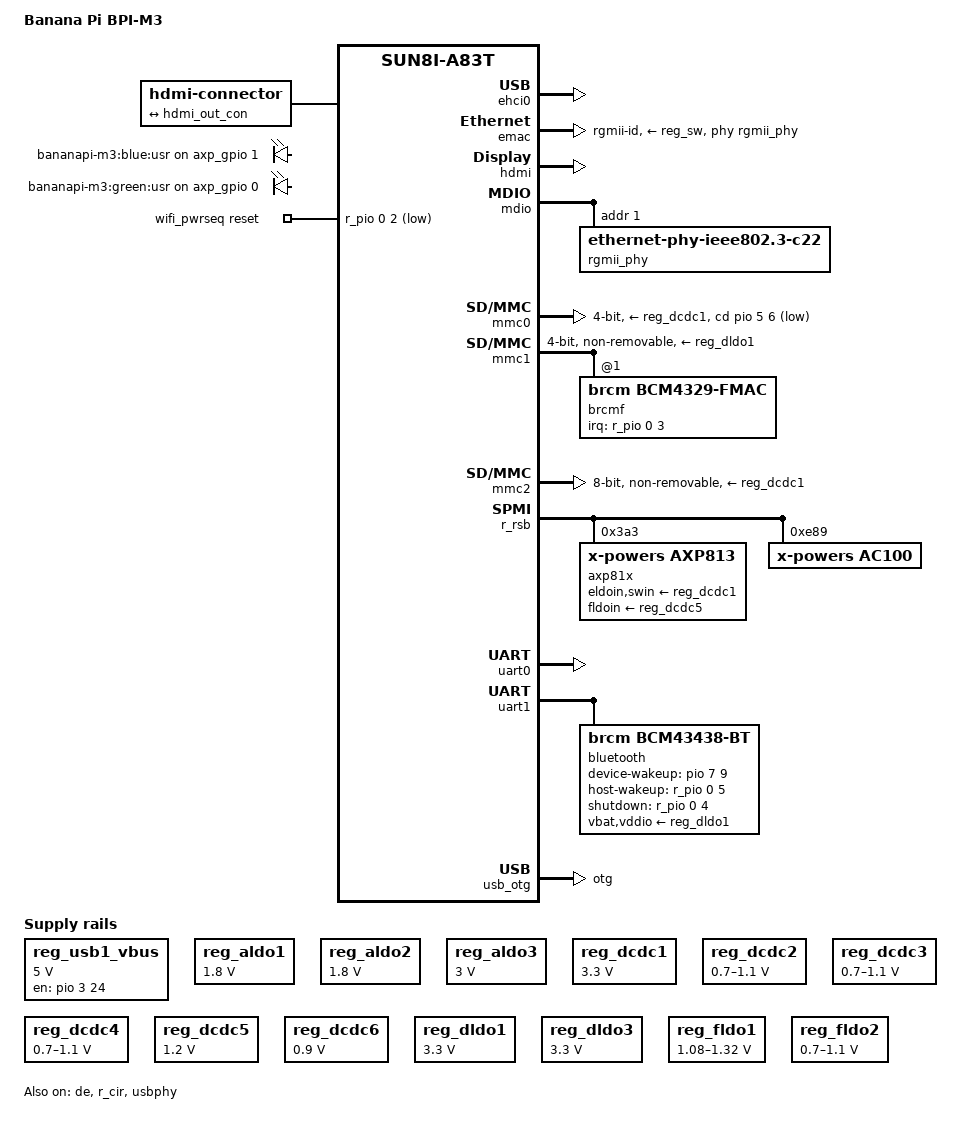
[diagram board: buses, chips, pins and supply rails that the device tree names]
/*
 * Copyright 2017 Chen-Yu Tsai
 *
 * Chen-Yu Tsai <wens@csie.org>
 *
 * This file is dual-licensed: you can use it either under the terms
 * of the GPL or the X11 license, at your option. Note that this dual
 * licensing only applies to this file, and not this project as a
 * whole.
 *
 *  a) This file is free software; you can redistribute it and/or
 *     modify it under the terms of the GNU General Public License as
 *     published by the Free Software Foundation; either version 2 of the
 *     License, or (at your option) any later version.
 *
 *     This file is distributed in the hope that it will be useful,
 *     but WITHOUT ANY WARRANTY; without even the implied warranty of
 *     MERCHANTABILITY or FITNESS FOR A PARTICULAR PURPOSE.  See the
 *     GNU General Public License for more details.
 *
 * Or, alternatively,
 *
 *  b) Permission is hereby granted, free of charge, to any person
 *     obtaining a copy of this software and associated documentation
 *     files (the "Software"), to deal in the Software without
 *     restriction, including without limitation the rights to use,
 *     copy, modify, merge, publish, distribute, sublicense, and/or
 *     sell copies of the Software, and to permit persons to whom the
 *     Software is furnished to do so, subject to the following
 *     conditions:
 *
 *     The above copyright notice and this permission notice shall be
 *     included in all copies or substantial portions of the Software.
 *
 *     THE SOFTWARE IS PROVIDED "AS IS", WITHOUT WARRANTY OF ANY KIND,
 *     EXPRESS OR IMPLIED, INCLUDING BUT NOT LIMITED TO THE WARRANTIES
 *     OF MERCHANTABILITY, FITNESS FOR A PARTICULAR PURPOSE AND
 *     NONINFRINGEMENT. IN NO EVENT SHALL THE AUTHORS OR COPYRIGHT
 *     HOLDERS BE LIABLE FOR ANY CLAIM, DAMAGES OR OTHER LIABILITY,
 *     WHETHER IN AN ACTION OF CONTRACT, TORT OR OTHERWISE, ARISING
 *     FROM, OUT OF OR IN CONNECTION WITH THE SOFTWARE OR THE USE OR
 *     OTHER DEALINGS IN THE SOFTWARE.
 */

/dts-v1/;
#include "sun8i-a83t.dtsi"

#include <dt-bindings/gpio/gpio.h>

/ {
	model = "Banana Pi BPI-M3";
	compatible = "sinovoip,bpi-m3", "allwinner,sun8i-a83t";

	aliases {
		ethernet0 = &emac;
		serial0 = &uart0;
	};

	chosen {
		stdout-path = "serial0:115200n8";
	};

	connector {
		compatible = "hdmi-connector";
		type = "a";

		port {
			hdmi_con_in: endpoint {
				remote-endpoint = <&hdmi_out_con>;
			};
		};
	};

	leds {
		compatible = "gpio-leds";

		led-0 {
			label = "bananapi-m3:blue:usr";
			gpios = <&axp_gpio 1 GPIO_ACTIVE_HIGH>;
		};

		led-1 {
			label = "bananapi-m3:green:usr";
			gpios = <&axp_gpio 0 GPIO_ACTIVE_HIGH>;
		};
	};

	reg_usb1_vbus: reg-usb1-vbus {
		compatible = "regulator-fixed";
		regulator-name = "usb1-vbus";
		regulator-min-microvolt = <5000000>;
		regulator-max-microvolt = <5000000>;
		regulator-boot-on;
		enable-active-high;
		gpio = <&pio 3 24 GPIO_ACTIVE_HIGH>; /* PD24 */
	};

	wifi_pwrseq: wifi_pwrseq {
		compatible = "mmc-pwrseq-simple";
		clocks = <&ac100_rtc 1>;
		clock-names = "ext_clock";
		/* The WiFi low power clock must be 32768 Hz */
		assigned-clocks = <&ac100_rtc 1>;
		assigned-clock-rates = <32768>;
		/* enables internal regulator and de-asserts reset */
		reset-gpios = <&r_pio 0 2 GPIO_ACTIVE_LOW>; /* PL2 WL-PMU-EN */
	};
};

&cpu0 {
	cpu-supply = <&reg_dcdc2>;
};

&cpu100 {
	cpu-supply = <&reg_dcdc3>;
};

&de {
	status = "okay";
};

&ehci0 {
	/* Terminus Tech FE 1.1s 4-port USB 2.0 hub here */
	status = "okay";

	/* TODO GL830 USB-to-SATA bridge downstream w/ GPIO power controls */
};

&emac {
	pinctrl-names = "default";
	pinctrl-0 = <&emac_rgmii_pins>;
	phy-supply = <&reg_sw>;
	phy-handle = <&rgmii_phy>;
	phy-mode = "rgmii-id";
	allwinner,rx-delay-ps = <700>;
	allwinner,tx-delay-ps = <700>;
	status = "okay";
};

&hdmi {
	status = "okay";
};

&hdmi_out {
	hdmi_out_con: endpoint {
		remote-endpoint = <&hdmi_con_in>;
	};
};

&mdio {
	rgmii_phy: ethernet-phy@1 {
		compatible = "ethernet-phy-ieee802.3-c22";
		reg = <1>;
	};
};

&mmc0 {
	pinctrl-names = "default";
	pinctrl-0 = <&mmc0_pins>;
	vmmc-supply = <&reg_dcdc1>;
	bus-width = <4>;
	cd-gpios = <&pio 5 6 GPIO_ACTIVE_LOW>; /* PF6 */
	status = "okay";
};

&mmc1 {
	vmmc-supply = <&reg_dldo1>;
	vqmmc-supply = <&reg_dldo1>;
	mmc-pwrseq = <&wifi_pwrseq>;
	bus-width = <4>;
	non-removable;
	status = "okay";

	brcmf: wifi@1 {
		reg = <1>;
		compatible = "brcm,bcm4329-fmac";
		interrupt-parent = <&r_pio>;
		interrupts = <0 3 IRQ_TYPE_LEVEL_LOW>;
		interrupt-names = "host-wake";
	};
};

&mmc2 {
	pinctrl-names = "default";
	pinctrl-0 = <&mmc2_8bit_emmc_pins>;
	vmmc-supply = <&reg_dcdc1>;
	vqmmc-supply = <&reg_dcdc1>;
	bus-width = <8>;
	non-removable;
	cap-mmc-hw-reset;
	status = "okay";
};

&r_cir {
	clock-frequency = <3000000>;
	status = "okay";
};

&r_rsb {
	status = "okay";

	axp81x: pmic@3a3 {
		compatible = "x-powers,axp813";
		reg = <0x3a3>;
		interrupt-parent = <&r_intc>;
		interrupts = <0 IRQ_TYPE_LEVEL_LOW>;
		eldoin-supply = <&reg_dcdc1>;
		fldoin-supply = <&reg_dcdc5>;
		swin-supply = <&reg_dcdc1>;
		x-powers,drive-vbus-en;
	};

	ac100: codec@e89 {
		compatible = "x-powers,ac100";
		reg = <0xe89>;

		ac100_codec: codec {
			compatible = "x-powers,ac100-codec";
			interrupt-parent = <&r_pio>;
			interrupts = <0 11 IRQ_TYPE_LEVEL_LOW>; /* PL11 */
			#clock-cells = <0>;
			clock-output-names = "4M_adda";
		};

		ac100_rtc: rtc {
			compatible = "x-powers,ac100-rtc";
			interrupt-parent = <&r_intc>;
			interrupts = <0 IRQ_TYPE_LEVEL_LOW>;
			clocks = <&ac100_codec>;
			#clock-cells = <1>;
			clock-output-names = "cko1_rtc",
					     "cko2_rtc",
					     "cko3_rtc";
		};
	};
};

#include "axp81x.dtsi"

&ac_power_supply {
	status = "okay";
};

&battery_power_supply {
	status = "okay";
};

&reg_aldo1 {
	regulator-always-on;
	regulator-min-microvolt = <1800000>;
	regulator-max-microvolt = <1800000>;
	regulator-name = "vcc-1v8";
};

&reg_aldo2 {
	regulator-always-on;
	regulator-min-microvolt = <1800000>;
	regulator-max-microvolt = <1800000>;
	regulator-name = "dram-pll";
};

&reg_aldo3 {
	regulator-always-on;
	regulator-min-microvolt = <3000000>;
	regulator-max-microvolt = <3000000>;
	regulator-name = "avcc";
};

&reg_dcdc1 {
	/* schematics says 3.1V but FEX file says 3.3V */
	regulator-always-on;
	regulator-min-microvolt = <3300000>;
	regulator-max-microvolt = <3300000>;
	regulator-name = "vcc-3v3";
};

&reg_dcdc2 {
	regulator-always-on;
	regulator-min-microvolt = <700000>;
	regulator-max-microvolt = <1100000>;
	regulator-name = "vdd-cpua";
};

&reg_dcdc3 {
	regulator-always-on;
	regulator-min-microvolt = <700000>;
	regulator-max-microvolt = <1100000>;
	regulator-name = "vdd-cpub";
};

&reg_dcdc4 {
	regulator-min-microvolt = <700000>;
	regulator-max-microvolt = <1100000>;
	regulator-name = "vdd-gpu";
};

&reg_dcdc5 {
	regulator-always-on;
	regulator-min-microvolt = <1200000>;
	regulator-max-microvolt = <1200000>;
	regulator-name = "vcc-dram";
};

&reg_dcdc6 {
	regulator-always-on;
	regulator-min-microvolt = <900000>;
	regulator-max-microvolt = <900000>;
	regulator-name = "vdd-sys";
};

&reg_dldo1 {
	/*
	 * This powers both the WiFi/BT module's main power, I/O supply,
	 * and external pull-ups on all the data lines. It should be set
	 * to the same voltage as the I/O supply (DCDC1 in this case) to
	 * avoid any leakage or mismatch.
	 */
	regulator-min-microvolt = <3300000>;
	regulator-max-microvolt = <3300000>;
	regulator-name = "vcc-wifi";
};

&reg_dldo3 {
	regulator-always-on;
	regulator-min-microvolt = <3300000>;
	regulator-max-microvolt = <3300000>;
	regulator-name = "vcc-pd";
};

&reg_drivevbus {
	regulator-name = "usb0-vbus";
	status = "okay";
};

&reg_fldo1 {
	regulator-min-microvolt = <1080000>;
	regulator-max-microvolt = <1320000>;
	regulator-name = "vdd12-hsic";
};

&reg_fldo2 {
	/*
	 * Despite the embedded CPUs core not being used in any way,
	 * this must remain on or the system will hang.
	 */
	regulator-always-on;
	regulator-min-microvolt = <700000>;
	regulator-max-microvolt = <1100000>;
	regulator-name = "vdd-cpus";
};

&reg_rtc_ldo {
	regulator-name = "vcc-rtc";
};

&reg_sw {
	/*
	 * The PHY requires 20ms after all voltages
	 * are applied until core logic is ready and
	 * 30ms after the reset pin is de-asserted.
	 * Set a 100ms delay to account for PMIC
	 * ramp time and board traces.
	 */
	regulator-enable-ramp-delay = <100000>;
	regulator-name = "vcc-ephy";
};

&uart0 {
	pinctrl-names = "default";
	pinctrl-0 = <&uart0_pb_pins>;
	status = "okay";
};

&uart1 {
	pinctrl-names = "default";
	pinctrl-0 = <&uart1_pins>, <&uart1_rts_cts_pins>;
	uart-has-rtscts;
	status = "okay";

	bluetooth {
		compatible = "brcm,bcm43438-bt";
		clocks = <&ac100_rtc 1>;
		clock-names = "lpo";
		vbat-supply = <&reg_dldo1>;
		vddio-supply = <&reg_dldo1>;
		device-wakeup-gpios = <&pio 7 9 GPIO_ACTIVE_HIGH>; /* PH9 */
		host-wakeup-gpios = <&r_pio 0 5 GPIO_ACTIVE_HIGH>; /* PL5 */
		shutdown-gpios = <&r_pio 0 4 GPIO_ACTIVE_HIGH>; /* PL4 */
	};
};

&usb_otg {
	dr_mode = "otg";
	status = "okay";
};

&usb_power_supply {
	status = "okay";
};

&usbphy {
	usb0_id_det-gpios = <&pio 7 11 GPIO_ACTIVE_HIGH>; /* PH11 */
	usb0_vbus_power-supply = <&usb_power_supply>;
	usb0_vbus-supply = <&reg_drivevbus>;
	usb1_vbus-supply = <&reg_usb1_vbus>;
	status = "okay";
};
